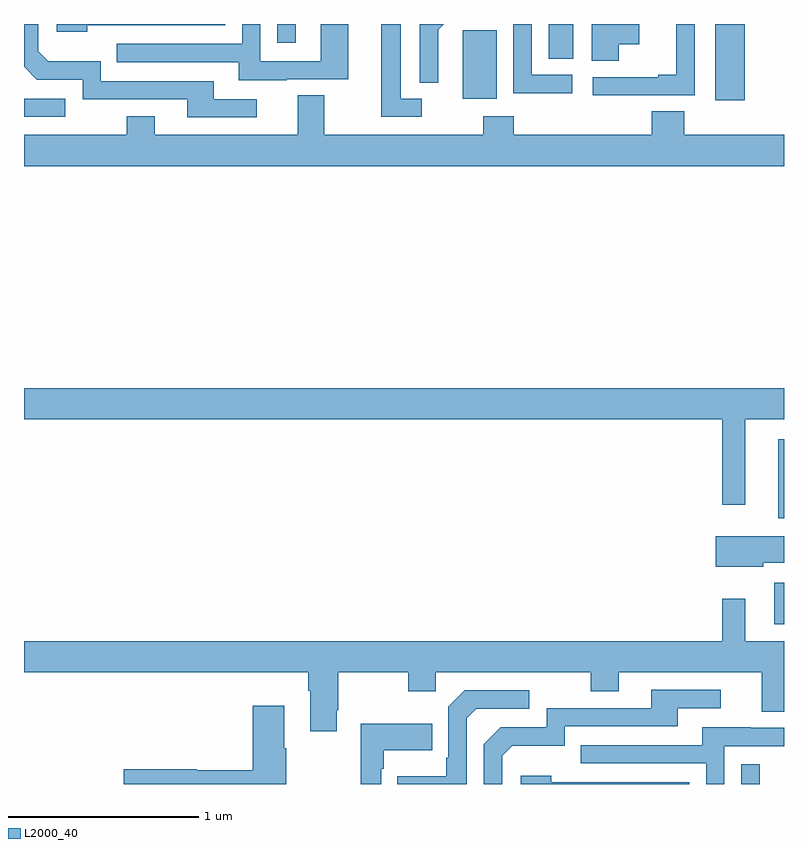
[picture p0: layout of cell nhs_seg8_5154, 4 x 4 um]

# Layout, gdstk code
import gdstk
lib = gdstk.Library(unit=1e-6, precision=1e-09)
def R(c, l, rs):  # rectangles x0, y0, x1, y1
    for r in rs: c.add(gdstk.rectangle(r[:2], r[2:], *l))
def P(c, l, *ps):  # polygons
    for p in ps: c.add(gdstk.Polygon(p, *l))
L2000_40 = (2000, 40)

nhs_seg8_5154 = lib.new_cell('nhs_seg8_5154')
R(nhs_seg8_5154, L2000_40, [(424.776,1127.9,424.873,1128.004), (424.949,1128.741,425,1128.96), (424.97,1129.298,425,1129.714), (421,1131.411,421.216,1131.507), (424.637,1131.498,424.793,1131.9), (423.308,1131.506,423.487,1131.867), (423.761,1131.718,423.892,1131.9), (422.334,1131.801,422.431,1131.9)])
P(nhs_seg8_5154, L2000_40, [(423.886,1131.633),(423.672,1131.633),(423.672,1131.9),(423.576,1131.9),(423.576,1131.535),(423.886,1131.535)],
  [(423.18,1131.746),(423.179,1131.746),(423.179,1131.869),(423.21,1131.9),(423.084,1131.9),(423.084,1131.592),(423.18,1131.592)],
  [(423.094,1131.507),(422.983,1131.507),(422.983,1131.9),(422.879,1131.9),(422.879,1131.411),(423.094,1131.411)],
  [(424.131,1131.794),(424.237,1131.794),(424.237,1131.9),(423.989,1131.9),(423.989,1131.706),(424.131,1131.706)],
  [(421.334,1131.894),(422.058,1131.894),(422.058,1131.9),(421.173,1131.9),(421.173,1131.86),(421.334,1131.86)],
  [(424.22,1131.525),(424.53,1131.525),(424.53,1131.9),(424.433,1131.9),(424.433,1131.634),(424.337,1131.634),(424.337,1131.621),(423.993,1131.621),(423.993,1131.524),(424.22,1131.524)],
  [(422.383,1131.609),(422.707,1131.609),(422.707,1131.9),(422.562,1131.9),(422.562,1131.705),(422.244,1131.705),(422.244,1131.9),(422.148,1131.9),(422.148,1131.795),(421.489,1131.795),(421.489,1131.699),(422.129,1131.699),(422.129,1131.605),(422.383,1131.605)],
  [(422.224,1131.504),(421.999,1131.504),(421.999,1131.6),(421.404,1131.6),(421.404,1131.703),(421.127,1131.703),(421.074,1131.756),(421.074,1131.9),(421,1131.9),(421,1131.674),(421.068,1131.606),(421.308,1131.606),(421.308,1131.504),(421.859,1131.504),(421.859,1131.408),(422.224,1131.408)],
  [(425,1131.316),(424.475,1131.316),(424.475,1131.44),(424.304,1131.44),(424.304,1131.316),(423.578,1131.316),(423.578,1131.415),(423.418,1131.415),(423.418,1131.316),(422.581,1131.316),(422.581,1131.524),(422.441,1131.524),(422.441,1131.316),(421.687,1131.316),(421.687,1131.415),(421.54,1131.415),(421.54,1131.316),(421,1131.316),(421,1131.152),(425,1131.152)],
  [(424.795,1129.82),(425,1129.82),(425,1129.984),(421,1129.984),(421,1129.82),(424.674,1129.82),(424.674,1129.371),(424.795,1129.371)],
  [(424.89,1129.064),(425,1129.064),(425,1129.204),(424.64,1129.204),(424.64,1129.043),(424.89,1129.043)],
  [(422.647,1128.289),(422.655,1128.289),(422.655,1128.488),(423.022,1128.488),(423.022,1128.389),(423.168,1128.389),(423.168,1128.488),(423.982,1128.488),(423.982,1128.389),(424.129,1128.389),(424.129,1128.488),(424.883,1128.488),(424.883,1128.28),(425,1128.28),(425,1128.652),(424.795,1128.652),(424.795,1128.874),(424.674,1128.874),(424.674,1128.652),(421,1128.652),(421,1128.488),(422.495,1128.488),(422.495,1128.392),(422.507,1128.392),(422.507,1128.177),(422.647,1128.177)],
  [(423.516,1128.048),(423.569,1128.101),(423.846,1128.101),(423.846,1128.204),(424.441,1128.204),(424.441,1128.3),(424.666,1128.3),(424.666,1128.396),(424.301,1128.396),(424.301,1128.3),(423.75,1128.3),(423.75,1128.198),(423.51,1128.198),(423.42,1128.108),(423.42,1127.9),(423.516,1127.9)],
  [(423.33,1128.246),(423.381,1128.297),(423.658,1128.297),(423.658,1128.393),(423.321,1128.393),(423.234,1128.306),(423.234,1128.037),(423.222,1128.037),(423.222,1127.941),(422.965,1127.941),(422.965,1127.9),(423.33,1127.9)],
  [(422.379,1128.089),(422.371,1128.089),(422.371,1128.313),(422.204,1128.313),(422.204,1127.972),(421.908,1127.972),(421.908,1127.978),(421.524,1127.978),(421.524,1127.9),(422.379,1127.9)],
  [(422.88,1127.981),(422.893,1127.981),(422.893,1128.077),(423.149,1128.077),(423.149,1128.217),(422.772,1128.217),(422.772,1127.9),(422.88,1127.9)],
  [(424.686,1128.099),(425,1128.099),(425,1128.195),(424.825,1128.195),(424.825,1128.199),(424.571,1128.199),(424.571,1128.105),(423.931,1128.105),(423.931,1128.009),(424.59,1128.009),(424.59,1127.9),(424.686,1127.9)],
  [(424.5,1127.91),(423.776,1127.91),(423.776,1127.944),(423.615,1127.944),(423.615,1127.9),(424.5,1127.9)])

lib.write_gds('nhs_seg8_5154.gds')
